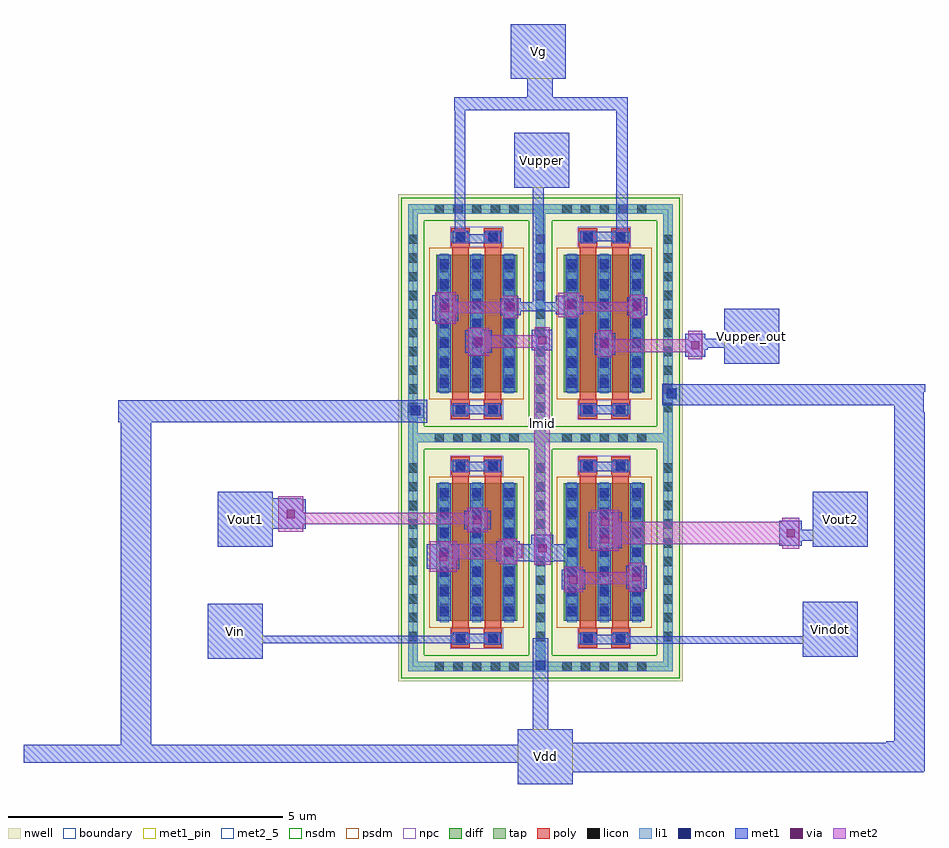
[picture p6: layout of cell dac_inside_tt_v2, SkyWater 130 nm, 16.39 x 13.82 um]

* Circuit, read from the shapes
.subckt dac_inside_tt_v2 Vdd Vg Vin Vindot Vout1 Vout2 Vupper Vupper_out lmid
XM1 Vout1 Vin lmid Vdd sky130_fd_pr__pfet_01v8 w=2.5 l=0.3 m=2
XM2 lmid Vg Vupper Vdd sky130_fd_pr__pfet_01v8 w=2.5 l=0.3 m=2
XM3 Vout2 Vindot lmid Vdd sky130_fd_pr__pfet_01v8 w=2.5 l=0.3 m=2
XM4 Vupper_out Vg Vupper Vdd sky130_fd_pr__pfet_01v8 w=2.5 l=0.3 m=2
.ends

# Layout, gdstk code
import gdstk
lib = gdstk.Library(unit=1e-6, precision=1e-09)
def R(c, l, rs):  # rectangles x0, y0, x1, y1
    for r in rs: c.add(gdstk.rectangle(r[:2], r[2:], *l))
def A(c, l, x, y, w, h, nx, ny, dx, dy):  # array of equal rectangles
    R(c, l, [(x+i*dx, y+j*dy, x+i*dx+w, y+j*dy+h) for i in range(nx) for j in range(ny)])
nwell = (64, 20)
diff = (65, 20)
tap = (65, 44)
poly = (66, 20)
licon = (66, 44)
li1 = (67, 20)
mcon = (67, 44)
met1_pin = (68, 16)
met1 = (68, 20)
via = (68, 44)
met2_5 = (69, 5)
met2 = (69, 20)
nsdm = (93, 44)
psdm = (94, 20)
npc = (95, 20)
boundary = (235, 4)

sky130_fd_pr__pfet_01v8_ = lib.new_cell('sky130_fd_pr__pfet_01v8_JMP7WZ')
R(sky130_fd_pr__pfet_01v8_, nwell, [(-1.425,-2.345,1.425,2.345)])
R(sky130_fd_pr__pfet_01v8_, diff, [(-0.735,-1.25,0.735,1.25)])
R(sky130_fd_pr__pfet_01v8_, tap, [(-1.245,-2.165,1.245,-1.995), (-1.245,-1.995,-1.075,1.995), (1.075,-1.995,1.245,1.995), (-1.245,1.995,1.245,2.165)])
R(sky130_fd_pr__pfet_01v8_, poly, [(-0.46,-1.735,-0.13,-1.405), (0.13,-1.735,0.46,-1.405), (-0.445,-1.405,-0.145,1.405), (0.145,-1.405,0.445,1.405), (-0.46,1.405,-0.13,1.735), (0.13,1.405,0.46,1.735)])
A(sky130_fd_pr__pfet_01v8_, licon, -0.765, -2.165, 0.17, 0.17, 5, 2, 0.34, 4.16)
A(sky130_fd_pr__pfet_01v8_, licon, -1.245, -1.615, 0.17, 0.17, 1, 10, 0, 0.34)
A(sky130_fd_pr__pfet_01v8_, licon, 1.075, -1.615, 0.17, 0.17, 1, 10, 0, 0.34)
A(sky130_fd_pr__pfet_01v8_, licon, -0.675, -1.105, 0.17, 0.17, 3, 7, 0.59, 0.34)
R(sky130_fd_pr__pfet_01v8_, licon, [(-0.38,-1.655,-0.21,-1.485), (0.21,-1.655,0.38,-1.485), (-0.38,1.485,-0.21,1.655), (0.21,1.485,0.38,1.655)])
A(sky130_fd_pr__pfet_01v8_, li1, -0.675, -1.27, 0.17, 2.54, 3, 1, 0.59, 0)
R(sky130_fd_pr__pfet_01v8_, li1, [(-1.245,-2.165,1.245,-1.995), (-1.245,-1.995,-1.075,1.995), (1.075,-1.995,1.245,1.995), (-0.46,-1.655,-0.13,-1.485), (0.13,-1.655,0.46,-1.485), (-0.46,1.485,-0.13,1.655), (0.13,1.485,0.46,1.655), (-1.245,1.995,1.245,2.165)])
A(sky130_fd_pr__pfet_01v8_, mcon, -0.675, -1.165, 0.17, 0.17, 3, 7, 0.59, 0.36)
R(sky130_fd_pr__pfet_01v8_, mcon, [(-0.38,-1.655,-0.21,-1.485), (0.21,-1.655,0.38,-1.485), (-0.38,1.485,-0.21,1.655), (0.21,1.485,0.38,1.655)])
A(sky130_fd_pr__pfet_01v8_, met1, -0.705, -1.25, 0.23, 2.5, 3, 1, 0.59, 0)
R(sky130_fd_pr__pfet_01v8_, met1, [(-0.44,-1.685,-0.15,-1.455), (0.15,-1.685,0.44,-1.455), (-0.44,1.455,-0.15,1.685), (0.15,1.455,0.44,1.685)])
R(sky130_fd_pr__pfet_01v8_, nsdm, [(-1.37,-2.29,1.37,-1.87), (-1.37,-1.87,-0.95,1.87), (0.95,-1.87,1.37,1.87), (-1.37,1.87,1.37,2.29)])
R(sky130_fd_pr__pfet_01v8_, psdm, [(-0.86,-1.375,0.86,1.375)])
R(sky130_fd_pr__pfet_01v8_, npc, [(-0.48,-1.755,0.48,-1.385), (-0.48,1.385,0.48,1.755)])
R(sky130_fd_pr__pfet_01v8_, boundary, [(-1.16,-2.08,1.16,2.08)])

dac_inside_tt_v2 = lib.new_cell('dac_inside_tt_v2')
R(dac_inside_tt_v2, li1, [(10.32,-4.27,10.51,-4.09), (8,0.32,8.29,0.58), (12.7,0.66,12.89,0.86)])
R(dac_inside_tt_v2, mcon, [(10.33,-4.265,10.5,-4.095), (8.06,0.365,8.23,0.535), (12.71,0.675,12.88,0.845)])
R(dac_inside_tt_v2, met1_pin, [(10,-6.34,11,-5.34), (4.36,-4.06,5.36,-3.06), (15.18,-4.03,16.18,-3.03), (4.55,-2.03,5.55,-1.03), (15.37,-2.03,16.37,-1.03), (13.76,1.3,14.76,2.3), (9.94,4.5,10.94,5.5), (9.87,6.48,10.87,7.48)])
R(dac_inside_tt_v2, met1, [(10,-6.34,11,-6.13), (10,-6.13,17.38,-6.11), (10,-6.11,17.4,-5.95), (1.02,-5.95,17.4,-5.63), (2.78,-5.63,3.34,0.24), (10,-5.63,17.4,-5.59), (10,-5.59,11,-5.34), (16.7,-5.59,17.4,-5.56), (16.85,-5.56,17.4,0.42), (10.27,-5.34,10.56,-3.69), (4.36,-4.06,5.36,-3.78), (15.18,-4.03,16.18,-3.79), (11.27,-3.8,11.94,-3.79), (11.27,-3.79,16.18,-3.65), (4.36,-3.78,9.63,-3.64), (11.27,-3.65,11.94,-3.63), (15.18,-3.65,16.18,-3.03), (4.36,-3.64,5.37,-3.63), (8.83,-3.64,9.63,-3.61), (4.36,-3.63,5.36,-3.06), (10.8,-2.8,11.23,-2.44), (11.97,-2.79,12.35,-2.37), (8.35,-2.43,8.94,-1.98), (10.25,-2.3,10.65,-2.29), (9.61,-2.29,10.99,-1.98), (11.29,-2.05,11.89,-1.4), (4.55,-2.03,5.55,-1.7), (15.37,-2.03,16.37,-1.92), (14.76,-2.01,15.17,-1.92), (9.61,-1.98,10.04,-1.93), (10.25,-1.98,10.65,-1.81), (14.76,-1.92,16.37,-1.72), (14.76,-1.72,15.17,-1.55), (15.37,-1.72,16.37,-1.03), (9.03,-1.71,9.51,-1.37), (4.55,-1.7,6.15,-1.16), (4.55,-1.16,6.06,-1.14), (4.55,-1.14,5.55,-1.03), (8.86,-0.65,9.66,-0.48), (11.3,-0.65,11.97,-0.48), (8.16,0.23,8.36,0.24), (2.74,0.24,8.36,0.64), (8.92,0.38,9.59,0.55), (11.22,0.38,11.89,0.55), (16.85,0.42,17.38,0.55), (12.64,0.55,17.38,0.56), (12.63,0.56,17.38,0.79), (8.16,0.64,8.36,0.65), (12.63,0.79,17.41,0.93), (12.63,0.93,12.84,0.94), (13.76,1.3,14.76,1.59), (13.05,1.43,13.41,1.56), (11.4,1.47,11.77,1.86), (9.05,1.5,9.53,1.91), (10.26,1.55,10.63,1.92), (13.05,1.56,13.46,1.59), (13.05,1.59,14.76,1.76), (13.05,1.76,13.41,1.85), (13.76,1.76,14.76,2.3), (8.45,2.08,8.92,2.55), (9.68,2.18,10.06,2.26), (11.99,2.18,12.36,2.51), (10.69,2.2,11.19,2.26), (9.68,2.26,11.19,2.42), (9.68,2.42,10.06,2.49), (10.27,2.42,10.47,4.5), (10.69,2.42,11.19,2.54), (8.93,3.49,9.6,3.57), (11.26,3.53,11.93,3.56), (11.26,3.56,12,3.7), (8.86,3.57,9.6,3.66), (8.86,3.66,9.05,5.91), (11.79,3.7,12,5.91), (9.94,4.5,10.94,5.5), (8.85,5.91,12,6.15), (10.17,6.15,10.64,6.48), (9.87,6.48,10.87,7.48)])
R(dac_inside_tt_v2, via, [(10.94,-2.695,11.09,-2.545), (12.085,-2.655,12.235,-2.505), (8.57,-2.28,8.72,-2.13), (9.75,-2.185,9.9,-2.035), (10.375,-2.13,10.525,-1.98), (11.515,-1.96,11.665,-1.81), (14.89,-1.855,15.04,-1.705), (11.515,-1.64,11.665,-1.49), (9.195,-1.615,9.345,-1.465), (5.8,-1.505,5.95,-1.355), (13.155,1.565,13.305,1.715), (11.51,1.59,11.66,1.74), (9.215,1.63,9.365,1.78), (10.37,1.66,10.52,1.81), (8.61,2.24,8.76,2.39), (9.795,2.26,9.945,2.41), (12.1,2.27,12.25,2.42), (10.865,2.295,11.015,2.445)])
R(dac_inside_tt_v2, met2_5, [(10.35,0.14,10.54,0.29)])
R(dac_inside_tt_v2, met2, [(10.85,-2.85,11.18,-2.71), (12.02,-2.84,12.3,-2.71), (10.85,-2.71,12.3,-2.49), (10.85,-2.49,11.18,-2.39), (12.02,-2.49,12.3,-2.32), (8.4,-2.48,8.89,-2.25), (10.3,-2.35,10.6,-1.76), (9.66,-2.34,9.99,-2.25), (8.4,-2.25,9.99,-2.23), (8.4,-2.23,10.08,-1.97), (11.34,-2.1,11.84,-1.98), (14.81,-2.06,15.12,-1.98), (11.34,-1.98,15.12,-1.57), (8.4,-1.97,8.89,-1.93), (9.66,-1.97,9.99,-1.88), (9.08,-1.76,9.46,-1.62), (10.3,-1.76,10.58,1.59), (5.65,-1.75,6.1,-1.62), (5.65,-1.62,9.46,-1.41), (11.34,-1.57,11.84,-1.35), (14.81,-1.57,15.12,-1.5), (5.65,-1.41,6.1,-1.11), (9.08,-1.41,9.46,-1.32), (13.1,1.38,13.36,1.51), (11.45,1.42,11.72,1.51), (9.1,1.45,9.48,1.59), (11.45,1.51,13.36,1.75), (9.1,1.59,10.58,1.82), (11.45,1.75,11.72,1.91), (13.1,1.75,13.36,1.9), (9.1,1.82,9.48,1.96), (10.31,1.82,10.58,1.97), (8.5,2.03,8.87,2.22), (9.73,2.13,10.01,2.22), (12.04,2.13,12.31,2.26), (10.74,2.15,11.14,2.26), (8.5,2.22,10.01,2.43), (10.74,2.26,12.31,2.42), (10.74,2.42,11.14,2.59), (12.04,2.42,12.31,2.56), (8.5,2.43,8.87,2.6), (9.73,2.43,10.01,2.54)])
dac_inside_tt_v2.add(gdstk.Reference(sky130_fd_pr__pfet_01v8_, (9.255,2.035)))
dac_inside_tt_v2.add(gdstk.Reference(sky130_fd_pr__pfet_01v8_, (11.575,-2.125)))
dac_inside_tt_v2.add(gdstk.Reference(sky130_fd_pr__pfet_01v8_, (9.255,-2.125)))
dac_inside_tt_v2.add(gdstk.Reference(sky130_fd_pr__pfet_01v8_, (11.575,2.035)))
dac_inside_tt_v2.add(gdstk.Label('lmid', (10.445,0.215), layer=69, texttype=5))
dac_inside_tt_v2.add(gdstk.Label('Vupper', (10.44,5), layer=68, texttype=5))
dac_inside_tt_v2.add(gdstk.Label('Vupper_out', (14.26,1.8), layer=68, texttype=5))
dac_inside_tt_v2.add(gdstk.Label('Vg', (10.37,6.98), layer=68, texttype=5))
dac_inside_tt_v2.add(gdstk.Label('Vdd', (10.5,-5.84), layer=68, texttype=5))
dac_inside_tt_v2.add(gdstk.Label('Vin', (4.86,-3.56), layer=68, texttype=5))
dac_inside_tt_v2.add(gdstk.Label('Vindot', (15.68,-3.53), layer=68, texttype=5))
dac_inside_tt_v2.add(gdstk.Label('Vout1', (5.05,-1.53), layer=68, texttype=5))
dac_inside_tt_v2.add(gdstk.Label('Vout2', (15.87,-1.53), layer=68, texttype=5))

lib.write_gds('dac_inside_tt_v2.gds')
